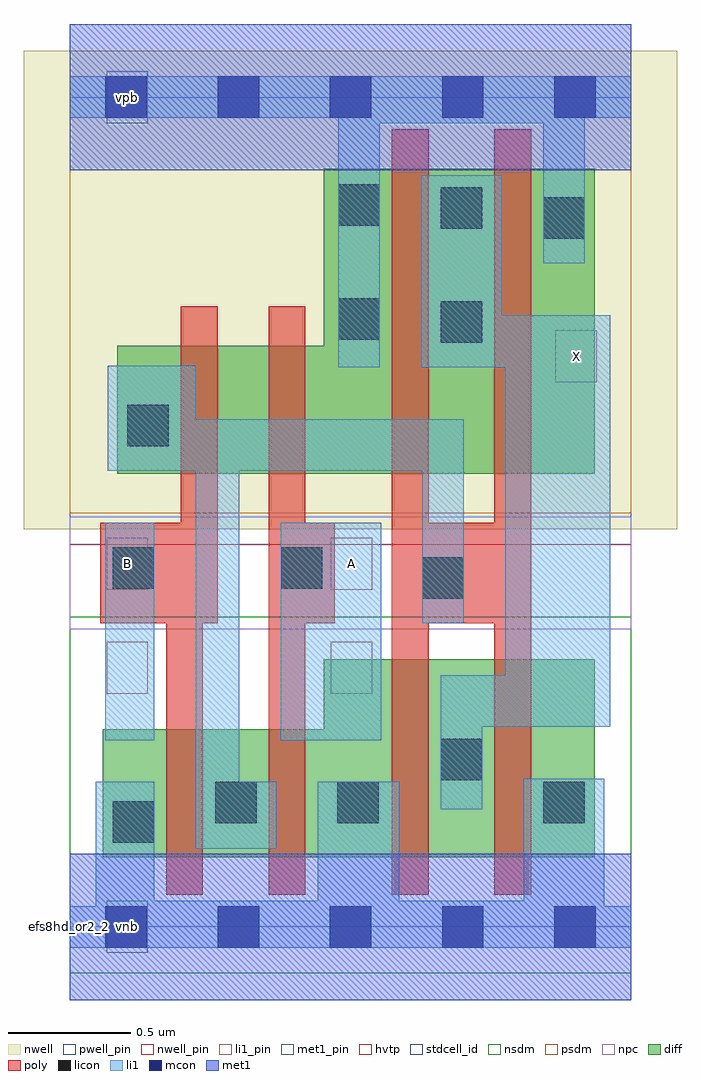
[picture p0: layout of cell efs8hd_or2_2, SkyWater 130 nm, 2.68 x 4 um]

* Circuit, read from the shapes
.subckt efs8hd_or2_2 A B X vgnd vnb vpb vpwr
XM1 n1 B vgnd vnb sky130_fd_pr__nfet_01v8 w=0.525 l=0.15
XM2 vgnd A n1 vnb sky130_fd_pr__nfet_01v8 w=0.525 l=0.15
XM3 X n1 vgnd vnb sky130_fd_pr__nfet_01v8 w=0.812 l=0.15 m=2
XM4 n2 B n1 vpb sky130_fd_pr__pfet_01v8_hvt w=0.525 l=0.15
XM5 vpwr A n2 vpb sky130_fd_pr__pfet_01v8_hvt w=0.525 l=0.15
XM6 X n1 vpwr vpb sky130_fd_pr__pfet_01v8_hvt w=1.25 l=0.15 m=2
.ends

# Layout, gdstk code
import gdstk
lib = gdstk.Library(unit=1e-6, precision=1e-09)
def R(c, l, rs):  # rectangles x0, y0, x1, y1
    for r in rs: c.add(gdstk.rectangle(r[:2], r[2:], *l))
def P(c, l, *ps):  # polygons
    for p in ps: c.add(gdstk.Polygon(p, *l))
nwell_pin = (64, 16)
nwell = (64, 20)
diff = (65, 20)
poly = (66, 20)
licon = (66, 44)
li1_pin = (67, 16)
li1 = (67, 20)
mcon = (67, 44)
met1_pin = (68, 16)
met1 = (68, 20)
hvtp = (78, 44)
stdcell_id = (81, 4)
nsdm = (93, 44)
psdm = (94, 20)
npc = (95, 20)
pwell_pin = (122, 16)

efs8hd_or2_2 = lib.new_cell('efs8hd_or2_2')
R(efs8hd_or2_2, nwell_pin, [(0.15,3.294,0.32,3.506)])
R(efs8hd_or2_2, nwell, [(-0.19,1.63,2.49,3.59)])
P(efs8hd_or2_2, diff, [(1.04,1.097),(1.04,0.81),(0.135,0.81),(0.135,0.285),(2.15,0.285),(2.15,1.097)],
  [(1.04,3.106),(1.04,2.381),(0.195,2.381),(0.195,1.856),(2.15,1.856),(2.15,3.106)])
P(efs8hd_or2_2, poly, [(0.455,2.544),(0.455,1.656),(0.125,1.656),(0.125,1.244),(0.395,1.244),(0.395,0.131),(0.545,0.131),(0.545,1.244),(0.605,1.244),(0.605,2.544)],
  [(0.815,2.544),(0.815,0.131),(0.965,0.131),(0.965,1.244),(1.085,1.244),(1.085,1.656),(0.965,1.656),(0.965,2.544)],
  [(1.74,3.269),(1.74,1.656),(1.47,1.656),(1.47,3.269),(1.32,3.269),(1.32,0.131),(1.47,0.131),(1.47,1.244),(1.74,1.244),(1.74,0.131),(1.89,0.131),(1.89,3.269)])
R(efs8hd_or2_2, licon, [(0.175,0.345,0.345,0.515), (1.94,0.424,2.11,0.594), (0.595,0.425,0.765,0.595), (1.095,0.425,1.265,0.595), (1.52,0.6,1.69,0.77), (1.445,1.344,1.615,1.514), (0.175,1.386,0.345,1.556), (0.865,1.386,1.035,1.556), (0.235,1.969,0.405,2.139), (1.52,2.394,1.69,2.564), (1.1,2.406,1.27,2.576), (1.94,2.819,2.11,2.989), (1.52,2.861,1.69,3.031), (1.1,2.874,1.27,3.044)])
R(efs8hd_or2_2, li1_pin, [(0.15,0.956,0.32,1.169), (1.07,0.956,1.24,1.169), (0.15,1.381,0.32,1.594), (1.07,1.381,1.24,1.594), (1.99,2.231,2.16,2.444)])
R(efs8hd_or2_2, li1, [(0.145,0.765,0.345,1.656), (0.865,0.765,1.275,1.656)])
P(efs8hd_or2_2, li1, [(1.015,0.595),(1.015,0.106),(0.345,0.106),(0.345,0.595),(0.105,0.595),(0.105,0.085),(0,0.085),(0,-0.085),(2.3,-0.085),(2.3,0.085),(2.19,0.085),(2.19,0.606),(1.86,0.606),(1.86,0.106),(1.35,0.106),(1.35,0.595)],
  [(0.155,2.3),(0.155,1.869),(0.515,1.869),(0.515,0.319),(0.845,0.319),(0.845,0.595),(0.695,0.595),(0.695,1.869),(1.445,1.869),(1.445,1.244),(1.615,1.244),(1.615,2.081),(0.515,2.081),(0.515,2.3)],
  [(1.44,3.081),(1.44,2.294),(1.785,2.294),(1.785,1.031),(1.52,1.031),(1.52,0.481),(1.69,0.481),(1.69,0.819),(2.215,0.819),(2.215,2.506),(1.77,2.506),(1.77,3.081)],
  [(0,3.485),(0,3.315),(1.1,3.315),(1.1,2.294),(1.27,2.294),(1.27,3.294),(1.94,3.294),(1.94,2.719),(2.11,2.719),(2.11,3.315),(2.3,3.315),(2.3,3.485)])
R(efs8hd_or2_2, mcon, [(0.145,-0.085,0.315,0.085), (0.145,-0.085,0.315,0.085), (0.145,-0.085,0.315,0.085), (0.145,-0.085,0.315,0.085), (0.145,-0.085,0.315,0.085), (0.145,-0.085,0.315,0.085), (0.145,-0.085,0.315,0.085), (0.145,-0.085,0.315,0.085), (0.145,-0.085,0.315,0.085), (0.145,-0.085,0.315,0.085), (0.145,-0.085,0.315,0.085), (0.145,-0.085,0.315,0.085), (0.145,-0.085,0.315,0.085), (0.145,-0.085,0.315,0.085), (0.145,-0.085,0.315,0.085), (0.145,-0.085,0.315,0.085), (0.145,-0.085,0.315,0.085), (0.145,-0.085,0.315,0.085), (0.145,-0.085,0.315,0.085), (0.145,-0.085,0.315,0.085), (0.145,-0.085,0.315,0.085), (0.145,-0.085,0.315,0.085), (0.145,-0.085,0.315,0.085), (0.145,-0.085,0.315,0.085), (0.145,-0.085,0.315,0.085), (0.145,-0.085,0.315,0.085), (0.145,-0.085,0.315,0.085), (0.145,-0.085,0.315,0.085), (0.145,-0.085,0.315,0.085), (0.145,-0.085,0.315,0.085), (0.145,-0.085,0.315,0.085), (0.145,-0.085,0.315,0.085), (0.145,-0.085,0.315,0.085), (0.145,-0.085,0.315,0.085), (0.145,-0.085,0.315,0.085), (0.145,-0.085,0.315,0.085), (0.145,-0.085,0.315,0.085), (0.145,-0.085,0.315,0.085), (0.145,-0.085,0.315,0.085), (0.145,-0.085,0.315,0.085), (0.145,-0.085,0.315,0.085), (0.145,-0.085,0.315,0.085), (0.145,-0.085,0.315,0.085), (0.145,-0.085,0.315,0.085), (0.145,-0.085,0.315,0.085), (0.145,-0.085,0.315,0.085), (0.145,-0.085,0.315,0.085), (0.145,-0.085,0.315,0.085), (0.145,-0.085,0.315,0.085), (0.145,-0.085,0.315,0.085), (0.145,-0.085,0.315,0.085), (0.145,-0.085,0.315,0.085), (0.145,-0.085,0.315,0.085), (0.145,-0.085,0.315,0.085), (0.145,-0.085,0.315,0.085), (0.145,-0.085,0.315,0.085), (0.145,-0.085,0.315,0.085), (0.145,-0.085,0.315,0.085), (0.145,-0.085,0.315,0.085), (0.145,-0.085,0.315,0.085), (0.145,-0.085,0.315,0.085), (0.145,-0.085,0.315,0.085), (0.145,-0.085,0.315,0.085), (0.145,-0.085,0.315,0.085), (0.145,-0.085,0.315,0.085), (0.145,-0.085,0.315,0.085), (0.145,-0.085,0.315,0.085), (0.145,-0.085,0.315,0.085), (0.145,-0.085,0.315,0.085), (0.145,-0.085,0.315,0.085), (0.145,-0.085,0.315,0.085), (0.145,-0.085,0.315,0.085), (0.145,-0.085,0.315,0.085), (0.145,-0.085,0.315,0.085), (0.145,-0.085,0.315,0.085), (0.145,-0.085,0.315,0.085), (0.145,-0.085,0.315,0.085), (0.145,-0.085,0.315,0.085), (0.145,-0.085,0.315,0.085), (0.145,-0.085,0.315,0.085), (0.145,-0.085,0.315,0.085), (0.145,-0.085,0.315,0.085), (0.145,-0.085,0.315,0.085), (0.145,-0.085,0.315,0.085), (0.145,-0.085,0.315,0.085), (0.145,-0.085,0.315,0.085), (0.145,-0.085,0.315,0.085), (0.145,-0.085,0.315,0.085), (0.145,-0.085,0.315,0.085), (0.145,-0.085,0.315,0.085), (0.145,-0.085,0.315,0.085), (0.145,-0.085,0.315,0.085), (0.145,-0.085,0.315,0.085), (0.145,-0.085,0.315,0.085), (0.145,-0.085,0.315,0.085), (0.145,-0.085,0.315,0.085), (0.145,-0.085,0.315,0.085), (0.145,-0.085,0.315,0.085), (0.145,-0.085,0.315,0.085), (0.145,-0.085,0.315,0.085), (0.145,-0.085,0.315,0.085), (0.145,-0.085,0.315,0.085), (0.145,-0.085,0.315,0.085), (0.145,-0.085,0.315,0.085), (0.145,-0.085,0.315,0.085), (0.145,-0.085,0.315,0.085), (0.145,-0.085,0.315,0.085), (0.145,-0.085,0.315,0.085), (0.145,-0.085,0.315,0.085), (0.605,-0.085,0.775,0.085), (0.605,-0.085,0.775,0.085), (0.605,-0.085,0.775,0.085), (0.605,-0.085,0.775,0.085), (0.605,-0.085,0.775,0.085), (0.605,-0.085,0.775,0.085), (0.605,-0.085,0.775,0.085), (0.605,-0.085,0.775,0.085), (0.605,-0.085,0.775,0.085), (0.605,-0.085,0.775,0.085), (0.605,-0.085,0.775,0.085), (0.605,-0.085,0.775,0.085), (0.605,-0.085,0.775,0.085), (0.605,-0.085,0.775,0.085), (0.605,-0.085,0.775,0.085), (0.605,-0.085,0.775,0.085), (0.605,-0.085,0.775,0.085), (0.605,-0.085,0.775,0.085), (0.605,-0.085,0.775,0.085), (0.605,-0.085,0.775,0.085), (0.605,-0.085,0.775,0.085), (0.605,-0.085,0.775,0.085), (0.605,-0.085,0.775,0.085), (0.605,-0.085,0.775,0.085), (0.605,-0.085,0.775,0.085), (0.605,-0.085,0.775,0.085), (0.605,-0.085,0.775,0.085), (0.605,-0.085,0.775,0.085), (0.605,-0.085,0.775,0.085), (0.605,-0.085,0.775,0.085), (0.605,-0.085,0.775,0.085), (0.605,-0.085,0.775,0.085), (0.605,-0.085,0.775,0.085), (0.605,-0.085,0.775,0.085), (0.605,-0.085,0.775,0.085), (0.605,-0.085,0.775,0.085), (0.605,-0.085,0.775,0.085), (0.605,-0.085,0.775,0.085), (0.605,-0.085,0.775,0.085), (0.605,-0.085,0.775,0.085), (0.605,-0.085,0.775,0.085), (0.605,-0.085,0.775,0.085), (0.605,-0.085,0.775,0.085), (0.605,-0.085,0.775,0.085), (0.605,-0.085,0.775,0.085), (0.605,-0.085,0.775,0.085), (0.605,-0.085,0.775,0.085), (0.605,-0.085,0.775,0.085), (0.605,-0.085,0.775,0.085), (0.605,-0.085,0.775,0.085), (0.605,-0.085,0.775,0.085), (0.605,-0.085,0.775,0.085), (0.605,-0.085,0.775,0.085), (0.605,-0.085,0.775,0.085), (0.605,-0.085,0.775,0.085), (0.605,-0.085,0.775,0.085), (0.605,-0.085,0.775,0.085), (0.605,-0.085,0.775,0.085), (0.605,-0.085,0.775,0.085), (0.605,-0.085,0.775,0.085), (0.605,-0.085,0.775,0.085), (0.605,-0.085,0.775,0.085), (0.605,-0.085,0.775,0.085), (0.605,-0.085,0.775,0.085), (0.605,-0.085,0.775,0.085), (0.605,-0.085,0.775,0.085), (0.605,-0.085,0.775,0.085), (0.605,-0.085,0.775,0.085), (0.605,-0.085,0.775,0.085), (0.605,-0.085,0.775,0.085), (0.605,-0.085,0.775,0.085), (0.605,-0.085,0.775,0.085), (0.605,-0.085,0.775,0.085), (0.605,-0.085,0.775,0.085), (0.605,-0.085,0.775,0.085), (0.605,-0.085,0.775,0.085), (0.605,-0.085,0.775,0.085), (0.605,-0.085,0.775,0.085), (0.605,-0.085,0.775,0.085), (0.605,-0.085,0.775,0.085), (0.605,-0.085,0.775,0.085), (0.605,-0.085,0.775,0.085), (0.605,-0.085,0.775,0.085), (0.605,-0.085,0.775,0.085), (0.605,-0.085,0.775,0.085), (0.605,-0.085,0.775,0.085), (0.605,-0.085,0.775,0.085), (0.605,-0.085,0.775,0.085), (0.605,-0.085,0.775,0.085), (0.605,-0.085,0.775,0.085), (0.605,-0.085,0.775,0.085), (0.605,-0.085,0.775,0.085), (0.605,-0.085,0.775,0.085), (0.605,-0.085,0.775,0.085), (0.605,-0.085,0.775,0.085), (0.605,-0.085,0.775,0.085), (0.605,-0.085,0.775,0.085), (0.605,-0.085,0.775,0.085), (0.605,-0.085,0.775,0.085), (0.605,-0.085,0.775,0.085), (0.605,-0.085,0.775,0.085), (0.605,-0.085,0.775,0.085), (0.605,-0.085,0.775,0.085), (0.605,-0.085,0.775,0.085), (0.605,-0.085,0.775,0.085), (0.605,-0.085,0.775,0.085), (0.605,-0.085,0.775,0.085), (0.605,-0.085,0.775,0.085), (0.605,-0.085,0.775,0.085), (1.065,-0.085,1.235,0.085), (1.065,-0.085,1.235,0.085), (1.065,-0.085,1.235,0.085), (1.065,-0.085,1.235,0.085), (1.065,-0.085,1.235,0.085), (1.065,-0.085,1.235,0.085), (1.065,-0.085,1.235,0.085), (1.065,-0.085,1.235,0.085), (1.065,-0.085,1.235,0.085), (1.065,-0.085,1.235,0.085), (1.065,-0.085,1.235,0.085), (1.065,-0.085,1.235,0.085), (1.065,-0.085,1.235,0.085), (1.065,-0.085,1.235,0.085), (1.065,-0.085,1.235,0.085), (1.065,-0.085,1.235,0.085), (1.065,-0.085,1.235,0.085), (1.065,-0.085,1.235,0.085), (1.065,-0.085,1.235,0.085), (1.065,-0.085,1.235,0.085), (1.065,-0.085,1.235,0.085), (1.065,-0.085,1.235,0.085), (1.065,-0.085,1.235,0.085), (1.065,-0.085,1.235,0.085), (1.065,-0.085,1.235,0.085), (1.065,-0.085,1.235,0.085), (1.065,-0.085,1.235,0.085), (1.065,-0.085,1.235,0.085), (1.065,-0.085,1.235,0.085), (1.065,-0.085,1.235,0.085), (1.065,-0.085,1.235,0.085), (1.065,-0.085,1.235,0.085), (1.065,-0.085,1.235,0.085), (1.065,-0.085,1.235,0.085), (1.065,-0.085,1.235,0.085), (1.065,-0.085,1.235,0.085), (1.065,-0.085,1.235,0.085), (1.065,-0.085,1.235,0.085), (1.065,-0.085,1.235,0.085), (1.065,-0.085,1.235,0.085), (1.065,-0.085,1.235,0.085), (1.065,-0.085,1.235,0.085), (1.065,-0.085,1.235,0.085), (1.065,-0.085,1.235,0.085), (1.065,-0.085,1.235,0.085), (1.065,-0.085,1.235,0.085), (1.065,-0.085,1.235,0.085), (1.065,-0.085,1.235,0.085), (1.065,-0.085,1.235,0.085), (1.065,-0.085,1.235,0.085), (1.065,-0.085,1.235,0.085), (1.065,-0.085,1.235,0.085), (1.065,-0.085,1.235,0.085), (1.065,-0.085,1.235,0.085), (1.065,-0.085,1.235,0.085), (1.065,-0.085,1.235,0.085), (1.065,-0.085,1.235,0.085), (1.065,-0.085,1.235,0.085), (1.065,-0.085,1.235,0.085), (1.065,-0.085,1.235,0.085), (1.065,-0.085,1.235,0.085), (1.065,-0.085,1.235,0.085), (1.065,-0.085,1.235,0.085), (1.065,-0.085,1.235,0.085), (1.065,-0.085,1.235,0.085), (1.065,-0.085,1.235,0.085), (1.065,-0.085,1.235,0.085), (1.065,-0.085,1.235,0.085), (1.065,-0.085,1.235,0.085), (1.065,-0.085,1.235,0.085), (1.065,-0.085,1.235,0.085), (1.065,-0.085,1.235,0.085), (1.065,-0.085,1.235,0.085), (1.065,-0.085,1.235,0.085), (1.065,-0.085,1.235,0.085), (1.065,-0.085,1.235,0.085), (1.065,-0.085,1.235,0.085), (1.065,-0.085,1.235,0.085), (1.065,-0.085,1.235,0.085), (1.065,-0.085,1.235,0.085), (1.065,-0.085,1.235,0.085), (1.065,-0.085,1.235,0.085), (1.065,-0.085,1.235,0.085), (1.065,-0.085,1.235,0.085), (1.065,-0.085,1.235,0.085), (1.065,-0.085,1.235,0.085), (1.065,-0.085,1.235,0.085), (1.065,-0.085,1.235,0.085), (1.065,-0.085,1.235,0.085), (1.065,-0.085,1.235,0.085), (1.065,-0.085,1.235,0.085), (1.065,-0.085,1.235,0.085), (1.065,-0.085,1.235,0.085), (1.065,-0.085,1.235,0.085), (1.065,-0.085,1.235,0.085), (1.065,-0.085,1.235,0.085), (1.065,-0.085,1.235,0.085), (1.065,-0.085,1.235,0.085), (1.065,-0.085,1.235,0.085), (1.065,-0.085,1.235,0.085), (1.065,-0.085,1.235,0.085), (1.065,-0.085,1.235,0.085), (1.065,-0.085,1.235,0.085), (1.065,-0.085,1.235,0.085), (1.065,-0.085,1.235,0.085), (1.065,-0.085,1.235,0.085), (1.065,-0.085,1.235,0.085), (1.065,-0.085,1.235,0.085), (1.065,-0.085,1.235,0.085), (1.525,-0.085,1.695,0.085), (1.525,-0.085,1.695,0.085), (1.525,-0.085,1.695,0.085), (1.525,-0.085,1.695,0.085), (1.525,-0.085,1.695,0.085), (1.525,-0.085,1.695,0.085), (1.525,-0.085,1.695,0.085), (1.525,-0.085,1.695,0.085), (1.525,-0.085,1.695,0.085), (1.525,-0.085,1.695,0.085), (1.525,-0.085,1.695,0.085), (1.525,-0.085,1.695,0.085), (1.525,-0.085,1.695,0.085), (1.525,-0.085,1.695,0.085), (1.525,-0.085,1.695,0.085), (1.525,-0.085,1.695,0.085), (1.525,-0.085,1.695,0.085), (1.525,-0.085,1.695,0.085), (1.525,-0.085,1.695,0.085), (1.525,-0.085,1.695,0.085), (1.525,-0.085,1.695,0.085), (1.525,-0.085,1.695,0.085), (1.525,-0.085,1.695,0.085), (1.525,-0.085,1.695,0.085), (1.525,-0.085,1.695,0.085), (1.525,-0.085,1.695,0.085), (1.525,-0.085,1.695,0.085), (1.525,-0.085,1.695,0.085), (1.525,-0.085,1.695,0.085), (1.525,-0.085,1.695,0.085), (1.525,-0.085,1.695,0.085), (1.525,-0.085,1.695,0.085), (1.525,-0.085,1.695,0.085), (1.525,-0.085,1.695,0.085), (1.525,-0.085,1.695,0.085), (1.525,-0.085,1.695,0.085), (1.525,-0.085,1.695,0.085), (1.525,-0.085,1.695,0.085), (1.525,-0.085,1.695,0.085), (1.525,-0.085,1.695,0.085), (1.525,-0.085,1.695,0.085), (1.525,-0.085,1.695,0.085), (1.525,-0.085,1.695,0.085), (1.525,-0.085,1.695,0.085), (1.525,-0.085,1.695,0.085), (1.525,-0.085,1.695,0.085), (1.525,-0.085,1.695,0.085), (1.525,-0.085,1.695,0.085), (1.525,-0.085,1.695,0.085), (1.525,-0.085,1.695,0.085), (1.525,-0.085,1.695,0.085), (1.525,-0.085,1.695,0.085), (1.525,-0.085,1.695,0.085), (1.525,-0.085,1.695,0.085), (1.525,-0.085,1.695,0.085), (1.525,-0.085,1.695,0.085), (1.525,-0.085,1.695,0.085), (1.525,-0.085,1.695,0.085), (1.525,-0.085,1.695,0.085), (1.525,-0.085,1.695,0.085), (1.525,-0.085,1.695,0.085), (1.525,-0.085,1.695,0.085), (1.525,-0.085,1.695,0.085), (1.525,-0.085,1.695,0.085), (1.525,-0.085,1.695,0.085), (1.525,-0.085,1.695,0.085), (1.525,-0.085,1.695,0.085), (1.525,-0.085,1.695,0.085), (1.525,-0.085,1.695,0.085), (1.525,-0.085,1.695,0.085), (1.525,-0.085,1.695,0.085), (1.525,-0.085,1.695,0.085), (1.525,-0.085,1.695,0.085), (1.525,-0.085,1.695,0.085), (1.525,-0.085,1.695,0.085), (1.525,-0.085,1.695,0.085), (1.525,-0.085,1.695,0.085), (1.525,-0.085,1.695,0.085), (1.525,-0.085,1.695,0.085), (1.525,-0.085,1.695,0.085), (1.525,-0.085,1.695,0.085), (1.525,-0.085,1.695,0.085), (1.525,-0.085,1.695,0.085), (1.525,-0.085,1.695,0.085), (1.525,-0.085,1.695,0.085), (1.525,-0.085,1.695,0.085), (1.525,-0.085,1.695,0.085), (1.525,-0.085,1.695,0.085), (1.525,-0.085,1.695,0.085), (1.525,-0.085,1.695,0.085), (1.525,-0.085,1.695,0.085), (1.525,-0.085,1.695,0.085), (1.525,-0.085,1.695,0.085), (1.525,-0.085,1.695,0.085), (1.525,-0.085,1.695,0.085), (1.525,-0.085,1.695,0.085), (1.525,-0.085,1.695,0.085), (1.525,-0.085,1.695,0.085), (1.525,-0.085,1.695,0.085), (1.525,-0.085,1.695,0.085), (1.525,-0.085,1.695,0.085), (1.525,-0.085,1.695,0.085), (1.525,-0.085,1.695,0.085), (1.525,-0.085,1.695,0.085), (1.525,-0.085,1.695,0.085), (1.525,-0.085,1.695,0.085), (1.525,-0.085,1.695,0.085), (1.525,-0.085,1.695,0.085), (1.525,-0.085,1.695,0.085), (1.985,-0.085,2.155,0.085), (1.985,-0.085,2.155,0.085), (1.985,-0.085,2.155,0.085), (1.985,-0.085,2.155,0.085), (1.985,-0.085,2.155,0.085), (1.985,-0.085,2.155,0.085), (1.985,-0.085,2.155,0.085), (1.985,-0.085,2.155,0.085), (1.985,-0.085,2.155,0.085), (1.985,-0.085,2.155,0.085), (1.985,-0.085,2.155,0.085), (1.985,-0.085,2.155,0.085), (1.985,-0.085,2.155,0.085), (1.985,-0.085,2.155,0.085), (1.985,-0.085,2.155,0.085), (1.985,-0.085,2.155,0.085), (1.985,-0.085,2.155,0.085), (1.985,-0.085,2.155,0.085), (1.985,-0.085,2.155,0.085), (1.985,-0.085,2.155,0.085), (1.985,-0.085,2.155,0.085), (1.985,-0.085,2.155,0.085), (1.985,-0.085,2.155,0.085), (1.985,-0.085,2.155,0.085), (1.985,-0.085,2.155,0.085), (1.985,-0.085,2.155,0.085), (1.985,-0.085,2.155,0.085), (1.985,-0.085,2.155,0.085), (1.985,-0.085,2.155,0.085), (1.985,-0.085,2.155,0.085), (1.985,-0.085,2.155,0.085), (1.985,-0.085,2.155,0.085), (1.985,-0.085,2.155,0.085), (1.985,-0.085,2.155,0.085), (1.985,-0.085,2.155,0.085), (1.985,-0.085,2.155,0.085), (1.985,-0.085,2.155,0.085), (1.985,-0.085,2.155,0.085), (1.985,-0.085,2.155,0.085), (1.985,-0.085,2.155,0.085), (1.985,-0.085,2.155,0.085), (1.985,-0.085,2.155,0.085), (1.985,-0.085,2.155,0.085), (1.985,-0.085,2.155,0.085), (1.985,-0.085,2.155,0.085), (1.985,-0.085,2.155,0.085), (1.985,-0.085,2.155,0.085), (1.985,-0.085,2.155,0.085), (1.985,-0.085,2.155,0.085), (1.985,-0.085,2.155,0.085), (1.985,-0.085,2.155,0.085), (1.985,-0.085,2.155,0.085), (1.985,-0.085,2.155,0.085), (1.985,-0.085,2.155,0.085), (1.985,-0.085,2.155,0.085), (1.985,-0.085,2.155,0.085), (1.985,-0.085,2.155,0.085), (1.985,-0.085,2.155,0.085), (1.985,-0.085,2.155,0.085), (1.985,-0.085,2.155,0.085), (1.985,-0.085,2.155,0.085), (1.985,-0.085,2.155,0.085), (1.985,-0.085,2.155,0.085), (1.985,-0.085,2.155,0.085), (1.985,-0.085,2.155,0.085), (1.985,-0.085,2.155,0.085), (1.985,-0.085,2.155,0.085), (1.985,-0.085,2.155,0.085), (1.985,-0.085,2.155,0.085), (1.985,-0.085,2.155,0.085), (1.985,-0.085,2.155,0.085), (1.985,-0.085,2.155,0.085), (1.985,-0.085,2.155,0.085), (1.985,-0.085,2.155,0.085), (1.985,-0.085,2.155,0.085), (1.985,-0.085,2.155,0.085), (1.985,-0.085,2.155,0.085), (1.985,-0.085,2.155,0.085), (1.985,-0.085,2.155,0.085), (1.985,-0.085,2.155,0.085), (1.985,-0.085,2.155,0.085), (1.985,-0.085,2.155,0.085), (1.985,-0.085,2.155,0.085), (1.985,-0.085,2.155,0.085), (1.985,-0.085,2.155,0.085), (1.985,-0.085,2.155,0.085), (1.985,-0.085,2.155,0.085), (1.985,-0.085,2.155,0.085), (1.985,-0.085,2.155,0.085), (1.985,-0.085,2.155,0.085), (1.985,-0.085,2.155,0.085), (1.985,-0.085,2.155,0.085), (1.985,-0.085,2.155,0.085), (1.985,-0.085,2.155,0.085), (1.985,-0.085,2.155,0.085), (1.985,-0.085,2.155,0.085), (1.985,-0.085,2.155,0.085), (1.985,-0.085,2.155,0.085), (1.985,-0.085,2.155,0.085), (1.985,-0.085,2.155,0.085), (1.985,-0.085,2.155,0.085), (1.985,-0.085,2.155,0.085), (1.985,-0.085,2.155,0.085), (1.985,-0.085,2.155,0.085), (1.985,-0.085,2.155,0.085), (1.985,-0.085,2.155,0.085), (1.985,-0.085,2.155,0.085), (1.985,-0.085,2.155,0.085), (1.985,-0.085,2.155,0.085), (0.145,3.315,0.315,3.485), (0.145,3.315,0.315,3.485), (0.145,3.315,0.315,3.485), (0.145,3.315,0.315,3.485), (0.145,3.315,0.315,3.485), (0.145,3.315,0.315,3.485), (0.145,3.315,0.315,3.485), (0.145,3.315,0.315,3.485), (0.145,3.315,0.315,3.485), (0.145,3.315,0.315,3.485), (0.145,3.315,0.315,3.485), (0.145,3.315,0.315,3.485), (0.145,3.315,0.315,3.485), (0.145,3.315,0.315,3.485), (0.145,3.315,0.315,3.485), (0.145,3.315,0.315,3.485), (0.145,3.315,0.315,3.485), (0.145,3.315,0.315,3.485), (0.145,3.315,0.315,3.485), (0.145,3.315,0.315,3.485), (0.145,3.315,0.315,3.485), (0.145,3.315,0.315,3.485), (0.145,3.315,0.315,3.485), (0.145,3.315,0.315,3.485), (0.145,3.315,0.315,3.485), (0.145,3.315,0.315,3.485), (0.145,3.315,0.315,3.485), (0.145,3.315,0.315,3.485), (0.145,3.315,0.315,3.485), (0.145,3.315,0.315,3.485), (0.145,3.315,0.315,3.485), (0.145,3.315,0.315,3.485), (0.145,3.315,0.315,3.485), (0.145,3.315,0.315,3.485), (0.145,3.315,0.315,3.485), (0.145,3.315,0.315,3.485), (0.145,3.315,0.315,3.485), (0.145,3.315,0.315,3.485), (0.145,3.315,0.315,3.485), (0.145,3.315,0.315,3.485), (0.145,3.315,0.315,3.485), (0.145,3.315,0.315,3.485), (0.145,3.315,0.315,3.485), (0.145,3.315,0.315,3.485), (0.145,3.315,0.315,3.485), (0.145,3.315,0.315,3.485), (0.145,3.315,0.315,3.485), (0.145,3.315,0.315,3.485), (0.145,3.315,0.315,3.485), (0.145,3.315,0.315,3.485), (0.145,3.315,0.315,3.485), (0.145,3.315,0.315,3.485), (0.145,3.315,0.315,3.485), (0.145,3.315,0.315,3.485), (0.145,3.315,0.315,3.485), (0.145,3.315,0.315,3.485), (0.145,3.315,0.315,3.485), (0.145,3.315,0.315,3.485), (0.145,3.315,0.315,3.485), (0.145,3.315,0.315,3.485), (0.145,3.315,0.315,3.485), (0.145,3.315,0.315,3.485), (0.145,3.315,0.315,3.485), (0.145,3.315,0.315,3.485), (0.145,3.315,0.315,3.485), (0.145,3.315,0.315,3.485), (0.145,3.315,0.315,3.485), (0.145,3.315,0.315,3.485), (0.145,3.315,0.315,3.485), (0.145,3.315,0.315,3.485), (0.145,3.315,0.315,3.485), (0.145,3.315,0.315,3.485), (0.145,3.315,0.315,3.485), (0.145,3.315,0.315,3.485), (0.145,3.315,0.315,3.485), (0.145,3.315,0.315,3.485), (0.145,3.315,0.315,3.485), (0.145,3.315,0.315,3.485), (0.145,3.315,0.315,3.485), (0.145,3.315,0.315,3.485), (0.145,3.315,0.315,3.485), (0.145,3.315,0.315,3.485), (0.145,3.315,0.315,3.485), (0.145,3.315,0.315,3.485), (0.145,3.315,0.315,3.485), (0.145,3.315,0.315,3.485), (0.145,3.315,0.315,3.485), (0.145,3.315,0.315,3.485), (0.145,3.315,0.315,3.485), (0.145,3.315,0.315,3.485), (0.145,3.315,0.315,3.485), (0.145,3.315,0.315,3.485), (0.145,3.315,0.315,3.485), (0.145,3.315,0.315,3.485), (0.145,3.315,0.315,3.485), (0.145,3.315,0.315,3.485), (0.145,3.315,0.315,3.485), (0.145,3.315,0.315,3.485), (0.145,3.315,0.315,3.485), (0.145,3.315,0.315,3.485), (0.145,3.315,0.315,3.485), (0.145,3.315,0.315,3.485), (0.145,3.315,0.315,3.485), (0.145,3.315,0.315,3.485), (0.145,3.315,0.315,3.485), (0.145,3.315,0.315,3.485), (0.145,3.315,0.315,3.485), (0.145,3.315,0.315,3.485), (0.145,3.315,0.315,3.485), (0.605,3.315,0.775,3.485), (0.605,3.315,0.775,3.485), (0.605,3.315,0.775,3.485), (0.605,3.315,0.775,3.485), (0.605,3.315,0.775,3.485), (0.605,3.315,0.775,3.485), (0.605,3.315,0.775,3.485), (0.605,3.315,0.775,3.485), (0.605,3.315,0.775,3.485), (0.605,3.315,0.775,3.485), (0.605,3.315,0.775,3.485), (0.605,3.315,0.775,3.485), (0.605,3.315,0.775,3.485), (0.605,3.315,0.775,3.485), (0.605,3.315,0.775,3.485), (0.605,3.315,0.775,3.485), (0.605,3.315,0.775,3.485), (0.605,3.315,0.775,3.485), (0.605,3.315,0.775,3.485), (0.605,3.315,0.775,3.485), (0.605,3.315,0.775,3.485), (0.605,3.315,0.775,3.485), (0.605,3.315,0.775,3.485), (0.605,3.315,0.775,3.485), (0.605,3.315,0.775,3.485), (0.605,3.315,0.775,3.485), (0.605,3.315,0.775,3.485), (0.605,3.315,0.775,3.485), (0.605,3.315,0.775,3.485), (0.605,3.315,0.775,3.485), (0.605,3.315,0.775,3.485), (0.605,3.315,0.775,3.485), (0.605,3.315,0.775,3.485), (0.605,3.315,0.775,3.485), (0.605,3.315,0.775,3.485), (0.605,3.315,0.775,3.485), (0.605,3.315,0.775,3.485), (0.605,3.315,0.775,3.485), (0.605,3.315,0.775,3.485), (0.605,3.315,0.775,3.485), (0.605,3.315,0.775,3.485), (0.605,3.315,0.775,3.485), (0.605,3.315,0.775,3.485), (0.605,3.315,0.775,3.485), (0.605,3.315,0.775,3.485), (0.605,3.315,0.775,3.485), (0.605,3.315,0.775,3.485), (0.605,3.315,0.775,3.485), (0.605,3.315,0.775,3.485), (0.605,3.315,0.775,3.485), (0.605,3.315,0.775,3.485), (0.605,3.315,0.775,3.485), (0.605,3.315,0.775,3.485), (0.605,3.315,0.775,3.485), (0.605,3.315,0.775,3.485), (0.605,3.315,0.775,3.485), (0.605,3.315,0.775,3.485), (0.605,3.315,0.775,3.485), (0.605,3.315,0.775,3.485), (0.605,3.315,0.775,3.485), (0.605,3.315,0.775,3.485), (0.605,3.315,0.775,3.485), (0.605,3.315,0.775,3.485), (0.605,3.315,0.775,3.485), (0.605,3.315,0.775,3.485), (0.605,3.315,0.775,3.485), (0.605,3.315,0.775,3.485), (0.605,3.315,0.775,3.485), (0.605,3.315,0.775,3.485), (0.605,3.315,0.775,3.485), (0.605,3.315,0.775,3.485), (0.605,3.315,0.775,3.485), (0.605,3.315,0.775,3.485), (0.605,3.315,0.775,3.485), (0.605,3.315,0.775,3.485), (0.605,3.315,0.775,3.485), (0.605,3.315,0.775,3.485), (0.605,3.315,0.775,3.485), (0.605,3.315,0.775,3.485), (0.605,3.315,0.775,3.485), (0.605,3.315,0.775,3.485), (0.605,3.315,0.775,3.485), (0.605,3.315,0.775,3.485), (0.605,3.315,0.775,3.485), (0.605,3.315,0.775,3.485), (0.605,3.315,0.775,3.485), (0.605,3.315,0.775,3.485), (0.605,3.315,0.775,3.485), (0.605,3.315,0.775,3.485), (0.605,3.315,0.775,3.485), (0.605,3.315,0.775,3.485), (0.605,3.315,0.775,3.485), (0.605,3.315,0.775,3.485), (0.605,3.315,0.775,3.485), (0.605,3.315,0.775,3.485), (0.605,3.315,0.775,3.485), (0.605,3.315,0.775,3.485), (0.605,3.315,0.775,3.485), (0.605,3.315,0.775,3.485), (0.605,3.315,0.775,3.485), (0.605,3.315,0.775,3.485), (0.605,3.315,0.775,3.485), (0.605,3.315,0.775,3.485), (0.605,3.315,0.775,3.485), (0.605,3.315,0.775,3.485), (0.605,3.315,0.775,3.485), (0.605,3.315,0.775,3.485), (0.605,3.315,0.775,3.485), (0.605,3.315,0.775,3.485), (1.065,3.315,1.235,3.485), (1.065,3.315,1.235,3.485), (1.065,3.315,1.235,3.485), (1.065,3.315,1.235,3.485), (1.065,3.315,1.235,3.485), (1.065,3.315,1.235,3.485), (1.065,3.315,1.235,3.485), (1.065,3.315,1.235,3.485), (1.065,3.315,1.235,3.485), (1.065,3.315,1.235,3.485), (1.065,3.315,1.235,3.485), (1.065,3.315,1.235,3.485), (1.065,3.315,1.235,3.485), (1.065,3.315,1.235,3.485), (1.065,3.315,1.235,3.485), (1.065,3.315,1.235,3.485), (1.065,3.315,1.235,3.485), (1.065,3.315,1.235,3.485), (1.065,3.315,1.235,3.485), (1.065,3.315,1.235,3.485), (1.065,3.315,1.235,3.485), (1.065,3.315,1.235,3.485), (1.065,3.315,1.235,3.485), (1.065,3.315,1.235,3.485), (1.065,3.315,1.235,3.485), (1.065,3.315,1.235,3.485), (1.065,3.315,1.235,3.485), (1.065,3.315,1.235,3.485), (1.065,3.315,1.235,3.485), (1.065,3.315,1.235,3.485), (1.065,3.315,1.235,3.485), (1.065,3.315,1.235,3.485), (1.065,3.315,1.235,3.485), (1.065,3.315,1.235,3.485), (1.065,3.315,1.235,3.485), (1.065,3.315,1.235,3.485), (1.065,3.315,1.235,3.485), (1.065,3.315,1.235,3.485), (1.065,3.315,1.235,3.485), (1.065,3.315,1.235,3.485), (1.065,3.315,1.235,3.485), (1.065,3.315,1.235,3.485), (1.065,3.315,1.235,3.485), (1.065,3.315,1.235,3.485), (1.065,3.315,1.235,3.485), (1.065,3.315,1.235,3.485), (1.065,3.315,1.235,3.485), (1.065,3.315,1.235,3.485), (1.065,3.315,1.235,3.485), (1.065,3.315,1.235,3.485), (1.065,3.315,1.235,3.485), (1.065,3.315,1.235,3.485), (1.065,3.315,1.235,3.485), (1.065,3.315,1.235,3.485), (1.065,3.315,1.235,3.485), (1.065,3.315,1.235,3.485), (1.065,3.315,1.235,3.485), (1.065,3.315,1.235,3.485), (1.065,3.315,1.235,3.485), (1.065,3.315,1.235,3.485), (1.065,3.315,1.235,3.485), (1.065,3.315,1.235,3.485), (1.065,3.315,1.235,3.485), (1.065,3.315,1.235,3.485), (1.065,3.315,1.235,3.485), (1.065,3.315,1.235,3.485), (1.065,3.315,1.235,3.485), (1.065,3.315,1.235,3.485), (1.065,3.315,1.235,3.485), (1.065,3.315,1.235,3.485), (1.065,3.315,1.235,3.485), (1.065,3.315,1.235,3.485), (1.065,3.315,1.235,3.485), (1.065,3.315,1.235,3.485), (1.065,3.315,1.235,3.485), (1.065,3.315,1.235,3.485), (1.065,3.315,1.235,3.485), (1.065,3.315,1.235,3.485), (1.065,3.315,1.235,3.485), (1.065,3.315,1.235,3.485), (1.065,3.315,1.235,3.485), (1.065,3.315,1.235,3.485), (1.065,3.315,1.235,3.485), (1.065,3.315,1.235,3.485), (1.065,3.315,1.235,3.485), (1.065,3.315,1.235,3.485), (1.065,3.315,1.235,3.485), (1.065,3.315,1.235,3.485), (1.065,3.315,1.235,3.485), (1.065,3.315,1.235,3.485), (1.065,3.315,1.235,3.485), (1.065,3.315,1.235,3.485), (1.065,3.315,1.235,3.485), (1.065,3.315,1.235,3.485), (1.065,3.315,1.235,3.485), (1.065,3.315,1.235,3.485), (1.065,3.315,1.235,3.485), (1.065,3.315,1.235,3.485), (1.065,3.315,1.235,3.485), (1.065,3.315,1.235,3.485), (1.065,3.315,1.235,3.485), (1.065,3.315,1.235,3.485), (1.065,3.315,1.235,3.485), (1.065,3.315,1.235,3.485), (1.065,3.315,1.235,3.485), (1.065,3.315,1.235,3.485), (1.065,3.315,1.235,3.485), (1.065,3.315,1.235,3.485), (1.065,3.315,1.235,3.485), (1.525,3.315,1.695,3.485), (1.525,3.315,1.695,3.485), (1.525,3.315,1.695,3.485), (1.525,3.315,1.695,3.485), (1.525,3.315,1.695,3.485), (1.525,3.315,1.695,3.485), (1.525,3.315,1.695,3.485), (1.525,3.315,1.695,3.485), (1.525,3.315,1.695,3.485), (1.525,3.315,1.695,3.485), (1.525,3.315,1.695,3.485), (1.525,3.315,1.695,3.485), (1.525,3.315,1.695,3.485), (1.525,3.315,1.695,3.485), (1.525,3.315,1.695,3.485), (1.525,3.315,1.695,3.485), (1.525,3.315,1.695,3.485), (1.525,3.315,1.695,3.485), (1.525,3.315,1.695,3.485), (1.525,3.315,1.695,3.485), (1.525,3.315,1.695,3.485), (1.525,3.315,1.695,3.485), (1.525,3.315,1.695,3.485), (1.525,3.315,1.695,3.485), (1.525,3.315,1.695,3.485), (1.525,3.315,1.695,3.485), (1.525,3.315,1.695,3.485), (1.525,3.315,1.695,3.485), (1.525,3.315,1.695,3.485), (1.525,3.315,1.695,3.485), (1.525,3.315,1.695,3.485), (1.525,3.315,1.695,3.485), (1.525,3.315,1.695,3.485), (1.525,3.315,1.695,3.485), (1.525,3.315,1.695,3.485), (1.525,3.315,1.695,3.485), (1.525,3.315,1.695,3.485), (1.525,3.315,1.695,3.485), (1.525,3.315,1.695,3.485), (1.525,3.315,1.695,3.485), (1.525,3.315,1.695,3.485), (1.525,3.315,1.695,3.485), (1.525,3.315,1.695,3.485), (1.525,3.315,1.695,3.485), (1.525,3.315,1.695,3.485), (1.525,3.315,1.695,3.485), (1.525,3.315,1.695,3.485), (1.525,3.315,1.695,3.485), (1.525,3.315,1.695,3.485), (1.525,3.315,1.695,3.485), (1.525,3.315,1.695,3.485), (1.525,3.315,1.695,3.485), (1.525,3.315,1.695,3.485), (1.525,3.315,1.695,3.485), (1.525,3.315,1.695,3.485), (1.525,3.315,1.695,3.485), (1.525,3.315,1.695,3.485), (1.525,3.315,1.695,3.485), (1.525,3.315,1.695,3.485), (1.525,3.315,1.695,3.485), (1.525,3.315,1.695,3.485), (1.525,3.315,1.695,3.485), (1.525,3.315,1.695,3.485), (1.525,3.315,1.695,3.485), (1.525,3.315,1.695,3.485), (1.525,3.315,1.695,3.485), (1.525,3.315,1.695,3.485), (1.525,3.315,1.695,3.485), (1.525,3.315,1.695,3.485), (1.525,3.315,1.695,3.485), (1.525,3.315,1.695,3.485), (1.525,3.315,1.695,3.485), (1.525,3.315,1.695,3.485), (1.525,3.315,1.695,3.485), (1.525,3.315,1.695,3.485), (1.525,3.315,1.695,3.485), (1.525,3.315,1.695,3.485), (1.525,3.315,1.695,3.485), (1.525,3.315,1.695,3.485), (1.525,3.315,1.695,3.485), (1.525,3.315,1.695,3.485), (1.525,3.315,1.695,3.485), (1.525,3.315,1.695,3.485), (1.525,3.315,1.695,3.485), (1.525,3.315,1.695,3.485), (1.525,3.315,1.695,3.485), (1.525,3.315,1.695,3.485), (1.525,3.315,1.695,3.485), (1.525,3.315,1.695,3.485), (1.525,3.315,1.695,3.485), (1.525,3.315,1.695,3.485), (1.525,3.315,1.695,3.485), (1.525,3.315,1.695,3.485), (1.525,3.315,1.695,3.485), (1.525,3.315,1.695,3.485), (1.525,3.315,1.695,3.485), (1.525,3.315,1.695,3.485), (1.525,3.315,1.695,3.485), (1.525,3.315,1.695,3.485), (1.525,3.315,1.695,3.485), (1.525,3.315,1.695,3.485), (1.525,3.315,1.695,3.485), (1.525,3.315,1.695,3.485), (1.525,3.315,1.695,3.485), (1.525,3.315,1.695,3.485), (1.525,3.315,1.695,3.485), (1.525,3.315,1.695,3.485), (1.525,3.315,1.695,3.485), (1.525,3.315,1.695,3.485), (1.985,3.315,2.155,3.485), (1.985,3.315,2.155,3.485), (1.985,3.315,2.155,3.485), (1.985,3.315,2.155,3.485), (1.985,3.315,2.155,3.485), (1.985,3.315,2.155,3.485), (1.985,3.315,2.155,3.485), (1.985,3.315,2.155,3.485), (1.985,3.315,2.155,3.485), (1.985,3.315,2.155,3.485), (1.985,3.315,2.155,3.485), (1.985,3.315,2.155,3.485), (1.985,3.315,2.155,3.485), (1.985,3.315,2.155,3.485), (1.985,3.315,2.155,3.485), (1.985,3.315,2.155,3.485), (1.985,3.315,2.155,3.485), (1.985,3.315,2.155,3.485), (1.985,3.315,2.155,3.485), (1.985,3.315,2.155,3.485), (1.985,3.315,2.155,3.485), (1.985,3.315,2.155,3.485), (1.985,3.315,2.155,3.485), (1.985,3.315,2.155,3.485), (1.985,3.315,2.155,3.485), (1.985,3.315,2.155,3.485), (1.985,3.315,2.155,3.485), (1.985,3.315,2.155,3.485), (1.985,3.315,2.155,3.485), (1.985,3.315,2.155,3.485), (1.985,3.315,2.155,3.485), (1.985,3.315,2.155,3.485), (1.985,3.315,2.155,3.485), (1.985,3.315,2.155,3.485), (1.985,3.315,2.155,3.485), (1.985,3.315,2.155,3.485), (1.985,3.315,2.155,3.485), (1.985,3.315,2.155,3.485), (1.985,3.315,2.155,3.485), (1.985,3.315,2.155,3.485), (1.985,3.315,2.155,3.485), (1.985,3.315,2.155,3.485), (1.985,3.315,2.155,3.485), (1.985,3.315,2.155,3.485), (1.985,3.315,2.155,3.485), (1.985,3.315,2.155,3.485), (1.985,3.315,2.155,3.485), (1.985,3.315,2.155,3.485), (1.985,3.315,2.155,3.485), (1.985,3.315,2.155,3.485), (1.985,3.315,2.155,3.485), (1.985,3.315,2.155,3.485), (1.985,3.315,2.155,3.485), (1.985,3.315,2.155,3.485), (1.985,3.315,2.155,3.485), (1.985,3.315,2.155,3.485), (1.985,3.315,2.155,3.485), (1.985,3.315,2.155,3.485), (1.985,3.315,2.155,3.485), (1.985,3.315,2.155,3.485), (1.985,3.315,2.155,3.485), (1.985,3.315,2.155,3.485), (1.985,3.315,2.155,3.485), (1.985,3.315,2.155,3.485), (1.985,3.315,2.155,3.485), (1.985,3.315,2.155,3.485), (1.985,3.315,2.155,3.485), (1.985,3.315,2.155,3.485), (1.985,3.315,2.155,3.485), (1.985,3.315,2.155,3.485), (1.985,3.315,2.155,3.485), (1.985,3.315,2.155,3.485), (1.985,3.315,2.155,3.485), (1.985,3.315,2.155,3.485), (1.985,3.315,2.155,3.485), (1.985,3.315,2.155,3.485), (1.985,3.315,2.155,3.485), (1.985,3.315,2.155,3.485), (1.985,3.315,2.155,3.485), (1.985,3.315,2.155,3.485), (1.985,3.315,2.155,3.485), (1.985,3.315,2.155,3.485), (1.985,3.315,2.155,3.485), (1.985,3.315,2.155,3.485), (1.985,3.315,2.155,3.485), (1.985,3.315,2.155,3.485), (1.985,3.315,2.155,3.485), (1.985,3.315,2.155,3.485), (1.985,3.315,2.155,3.485), (1.985,3.315,2.155,3.485), (1.985,3.315,2.155,3.485), (1.985,3.315,2.155,3.485), (1.985,3.315,2.155,3.485), (1.985,3.315,2.155,3.485), (1.985,3.315,2.155,3.485), (1.985,3.315,2.155,3.485), (1.985,3.315,2.155,3.485), (1.985,3.315,2.155,3.485), (1.985,3.315,2.155,3.485), (1.985,3.315,2.155,3.485), (1.985,3.315,2.155,3.485), (1.985,3.315,2.155,3.485), (1.985,3.315,2.155,3.485), (1.985,3.315,2.155,3.485), (1.985,3.315,2.155,3.485), (1.985,3.315,2.155,3.485), (1.985,3.315,2.155,3.485), (1.985,3.315,2.155,3.485), (1.985,3.315,2.155,3.485)])
R(efs8hd_or2_2, met1_pin, [(0.15,-0.106,0.32,0.106), (0.15,3.294,0.32,3.506)])
R(efs8hd_or2_2, met1, [(0,-0.3,2.3,0.3), (0,3.1,2.3,3.7)])
R(efs8hd_or2_2, hvtp, [(0,1.565,2.3,3.4)])
R(efs8hd_or2_2, stdcell_id, [(0,0,2.3,3.4)])
R(efs8hd_or2_2, nsdm, [(0,-0.19,2.3,1.27)])
R(efs8hd_or2_2, psdm, [(0,1.695,2.3,3.59)])
R(efs8hd_or2_2, npc, [(0,1.22,2.3,1.68)])
R(efs8hd_or2_2, pwell_pin, [(0.15,-0.106,0.32,0.106)])
efs8hd_or2_2.add(gdstk.Label('vnb', (0.235,0), layer=64, texttype=59))
efs8hd_or2_2.add(gdstk.Label('efs8hd_or2_2', (0,0), layer=83, texttype=44))
efs8hd_or2_2.add(gdstk.Label('vpb', (0.235,3.4), layer=64, texttype=5))
efs8hd_or2_2.add(gdstk.Label('B', (0.235,1.488), layer=67, texttype=5))
efs8hd_or2_2.add(gdstk.Label('A', (1.155,1.488), layer=67, texttype=5))
efs8hd_or2_2.add(gdstk.Label('X', (2.075,2.338), layer=67, texttype=5))
efs8hd_or2_2.add(gdstk.Label('vgnd', (0.235,0), layer=68, texttype=5))
efs8hd_or2_2.add(gdstk.Label('vpwr', (0.235,3.4), layer=68, texttype=5))

lib.write_gds('efs8hd_or2_2.gds')
